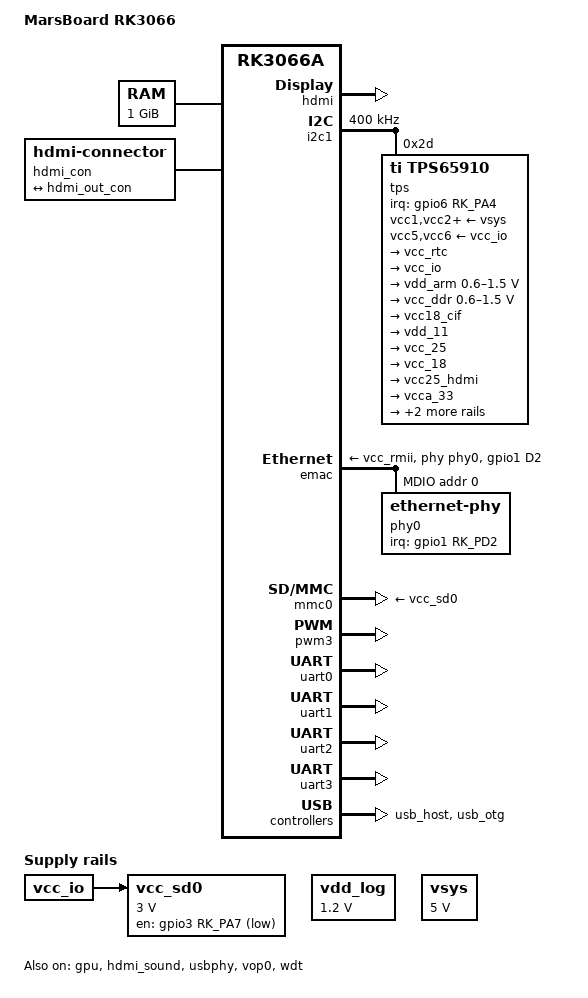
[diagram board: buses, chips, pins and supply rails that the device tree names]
// SPDX-License-Identifier: (GPL-2.0+ OR MIT)
/*
 * Copyright (c) 2014 Romain Perier <romain.perier@gmail.com>
 */

/dts-v1/;
#include "rk3066a.dtsi"

/ {
	model = "MarsBoard RK3066";
	compatible = "haoyu,marsboard-rk3066", "rockchip,rk3066a";

	aliases {
		mmc0 = &mmc0;
	};

	memory@60000000 {
		device_type = "memory";
		reg = <0x60000000 0x40000000>;
	};

	hdmi_con {
		compatible = "hdmi-connector";
		type = "a";

		port {
			hdmi_con_in: endpoint {
				remote-endpoint = <&hdmi_out_con>;
			};
		};
	};

	vdd_log: regulator-vdd-log {
		compatible = "pwm-regulator";
		pwms = <&pwm3 0 1000>;
		regulator-name = "vdd_log";
		regulator-min-microvolt = <1200000>;
		regulator-max-microvolt = <1200000>;
		regulator-always-on;
		voltage-table = <1000000 100>,
				<1200000 42>;
		status = "okay";
	};

	vcc_sd0: regulator-sdmmc {
		compatible = "regulator-fixed";
		regulator-name = "sdmmc-supply";
		regulator-min-microvolt = <3000000>;
		regulator-max-microvolt = <3000000>;
		gpio = <&gpio3 RK_PA7 GPIO_ACTIVE_LOW>;
		startup-delay-us = <100000>;
		vin-supply = <&vcc_io>;
	};

	vsys: regulator-vsys {
		compatible = "regulator-fixed";
		regulator-name = "vsys";
		regulator-min-microvolt = <5000000>;
		regulator-max-microvolt = <5000000>;
		regulator-boot-on;
	};
};

&cpu0 {
	cpu-supply = <&vdd_arm>;
};

&cpu1 {
	cpu-supply = <&vdd_arm>;
};

&gpu {
	status = "okay";
};

&hdmi {
	status = "okay";
};

&hdmi_in_vop1 {
	status = "disabled";
};

&hdmi_out {
	hdmi_out_con: endpoint {
		remote-endpoint = <&hdmi_con_in>;
	};
};

&hdmi_sound {
	status = "okay";
};

&i2c1 {
	status = "okay";
	clock-frequency = <400000>;

	tps: tps@2d {
		compatible = "ti,tps65910";
		reg = <0x2d>;

		gpio-controller;
		#gpio-cells = <2>;

		interrupt-parent = <&gpio6>;
		interrupts = <RK_PA4 IRQ_TYPE_LEVEL_LOW>;

		interrupt-controller;
		#interrupt-cells = <2>;

		vcc1-supply = <&vsys>;
		vcc2-supply = <&vsys>;
		vcc3-supply = <&vsys>;
		vcc4-supply = <&vsys>;
		vcc5-supply = <&vcc_io>;
		vcc6-supply = <&vcc_io>;
		vcc7-supply = <&vsys>;
		vccio-supply = <&vsys>;

		regulators {
			vcc_rtc: vrtc {
				regulator-name = "vcc_rtc";
				regulator-always-on;
			};

			vcc_io: vio {
				regulator-name = "vcc_io";
				regulator-always-on;
			};

			vdd_arm: vdd1 {
				regulator-name = "vdd_arm";
				regulator-min-microvolt = <600000>;
				regulator-max-microvolt = <1500000>;
				regulator-boot-on;
				regulator-always-on;
			};

			vcc_ddr: vdd2 {
				regulator-name = "vcc_ddr";
				regulator-min-microvolt = <600000>;
				regulator-max-microvolt = <1500000>;
				regulator-boot-on;
				regulator-always-on;
			};

			vcc18_cif: vdig1 {
				regulator-name = "vcc18_cif";
				regulator-always-on;
			};

			vdd_11: vdig2 {
				regulator-name = "vdd_11";
				regulator-always-on;
			};

			vcc_25: vpll {
				regulator-name = "vcc_25";
				regulator-always-on;
			};

			vcc_18: vdac {
				regulator-name = "vcc_18";
				regulator-always-on;
			};

			vcc25_hdmi: vaux1 {
				regulator-name = "vcc25_hdmi";
				regulator-always-on;
			};

			vcca_33: vaux2 {
				regulator-name = "vcca_33";
				regulator-always-on;
			};

			vcc_rmii: vaux33 {
				regulator-name = "vcc_rmii";
			};

			vcc28_cif: vmmc {
				regulator-name = "vcc28_cif";
				regulator-always-on;
			};
		};
	};
};

&emac {
	phy = <&phy0>;
	phy-supply = <&vcc_rmii>;
	pinctrl-names = "default";
	pinctrl-0 = <&emac_xfer>, <&emac_mdio>, <&phy_int>;
	status = "okay";

	mdio {
		#address-cells = <1>;
		#size-cells = <0>;

		phy0: ethernet-phy@0 {
			reg = <0>;
			interrupt-parent = <&gpio1>;
			interrupts = <RK_PD2 IRQ_TYPE_LEVEL_LOW>;
		};
	};
};

&mmc0 {
	status = "okay";

	pinctrl-names = "default";
	pinctrl-0 = <&sd0_clk>, <&sd0_cmd>, <&sd0_cd>, <&sd0_bus4>;
	vmmc-supply = <&vcc_sd0>;
};

&pinctrl {
	lan8720a {
		phy_int: phy-int {
			rockchip,pins = <1 RK_PD2 RK_FUNC_GPIO &pcfg_pull_none>;
		};
	};
};

&pwm3 {
	status = "okay";
};

&uart0 {
	status = "okay";
};

&uart1 {
	status = "okay";
};

&uart2 {
	status = "okay";
};

&uart3 {
	status = "okay";
};

&usbphy {
	status = "okay";
};

&usb_host {
	status = "okay";
};

&usb_otg {
	status = "okay";
};

&vop0 {
	status = "okay";
};

&wdt {
	status = "okay";
};
